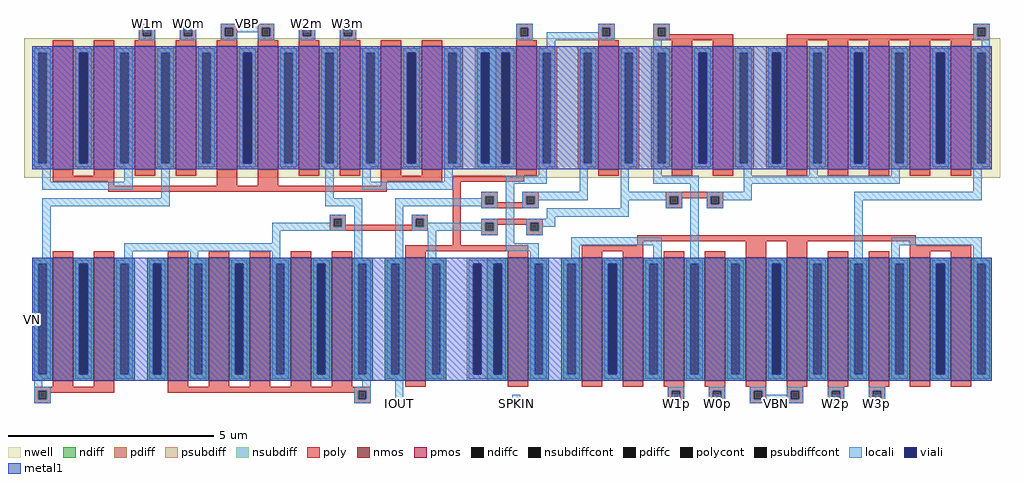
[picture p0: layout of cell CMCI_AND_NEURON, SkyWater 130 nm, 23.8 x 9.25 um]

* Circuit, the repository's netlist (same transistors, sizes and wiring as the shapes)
* NGSPICE file created from CMCI_AND_NEURON.ext - technology: sky130A

.subckt CMCI_synapse W1m W0m VBP W2m W3m VP IOUT SPKIN W1p W0p VBN W2p W3p VN
X0 a_450_n1180# W2m a_990_n90# VP sky130_fd_pr__pfet_01v8 ad=0.75 pd=3.5 as=0.75 ps=3.5 w=3 l=0.5
X1 a_190_n1120# SPKIN IOUT VN sky130_fd_pr__nfet_01v8 ad=1.5 pd=7 as=1.5 ps=7 w=3 l=0.5
X2 VN VBN a_3970_n1120# VN sky130_fd_pr__nfet_01v8 ad=0.75 pd=3.5 as=0.75 ps=3.5 w=3 l=0.5
X3 a_3170_n1120# W0p a_2810_n90# VN sky130_fd_pr__nfet_01v8 ad=0.75 pd=3.5 as=0.75 ps=3.5 w=3 l=0.5
X4 a_190_n1120# a_n210_n1120# VN VN sky130_fd_pr__nfet_01v8 ad=1.5 pd=7 as=0.75 ps=3.5 w=3 l=0.5
X5 VN a_n210_n1120# a_n210_n1120# VN sky130_fd_pr__nfet_01v8 ad=0.75 pd=3.5 as=1.5 ps=7 w=3 l=0.5
X6 VP VBP a_590_n90# VP sky130_fd_pr__pfet_01v8 ad=0.75 pd=3.5 as=0.75 ps=3.5 w=3 l=0.5
X7 VP a_2810_n90# a_2810_n90# VP sky130_fd_pr__pfet_01v8 ad=0.75 pd=3.5 as=1.5 ps=7 w=3 l=0.5
X8 VN a_450_n1180# a_190_n1120# VN sky130_fd_pr__nfet_01v8 ad=0.75 pd=3.5 as=0.75 ps=3.5 w=3 l=0.5
X9 a_3470_n120# a_3470_n120# VP VP sky130_fd_pr__pfet_01v8 ad=1.5 pd=7 as=0.75 ps=3.5 w=3 l=0.5
X10 a_1390_n90# VBP VP VP sky130_fd_pr__pfet_01v8 ad=1.5 pd=7 as=0.75 ps=3.5 w=3 l=0.5
X11 VP a_3470_n120# a_190_n1120# VP sky130_fd_pr__pfet_01v8 ad=0.75 pd=3.5 as=0.75 ps=3.5 w=3 l=0.5
X12 a_n210_n90# VBP VP VP sky130_fd_pr__pfet_01v8 ad=0.75 pd=3.5 as=0.75 ps=3.5 w=3 l=0.5
X13 a_190_n1120# a_2810_n90# VP VP sky130_fd_pr__pfet_01v8 ad=1.5 pd=7 as=0.75 ps=3.5 w=3 l=0.5
X14 a_190_n1120# a_450_n1180# VN VN sky130_fd_pr__nfet_01v8 ad=0.75 pd=3.5 as=1.5 ps=7 w=3 l=0.5
X15 a_n210_n1120# W1m a_n210_n90# VP sky130_fd_pr__pfet_01v8 ad=0.75 pd=3.5 as=0.75 ps=3.5 w=3 l=0.5
X16 a_190_n1120# a_2210_n1120# IOUT VP sky130_fd_pr__pfet_01v8 ad=1.5 pd=7 as=1.5 ps=7 w=3 l=0.5
X17 a_2810_n90# W1p a_2370_n1120# VN sky130_fd_pr__nfet_01v8 ad=0.75 pd=3.5 as=0.75 ps=3.5 w=3 l=0.5
X18 a_3970_n1120# W3p a_3470_n120# VN sky130_fd_pr__nfet_01v8 ad=0.75 pd=3.5 as=0.75 ps=3.5 w=3 l=0.5
X19 a_450_n1180# a_450_n1180# VN VN sky130_fd_pr__nfet_01v8 ad=1.5 pd=7 as=0.75 ps=3.5 w=3 l=0.5
X20 a_1390_n90# W3m a_450_n1180# VP sky130_fd_pr__pfet_01v8 ad=0.75 pd=3.5 as=0.75 ps=3.5 w=3 l=0.5
X21 a_2210_n1120# SPKIN VN VN sky130_fd_pr__nfet_01v8 ad=1.5 pd=7 as=1.5 ps=7 w=3 l=0.5
X22 a_3470_n120# W2p a_3570_n1120# VN sky130_fd_pr__nfet_01v8 ad=0.75 pd=3.5 as=0.75 ps=3.5 w=3 l=0.5
X23 a_2210_n1120# SPKIN VP VP sky130_fd_pr__pfet_01v8 ad=1.5 pd=7 as=1.5 ps=7 w=3 l=0.5
X24 a_2370_n1120# VBN VN VN sky130_fd_pr__nfet_01v8 ad=0.75 pd=3.5 as=0.75 ps=3.5 w=3 l=0.5
X25 a_990_n90# VBP VP VP sky130_fd_pr__pfet_01v8 ad=0.75 pd=3.5 as=0.75 ps=3.5 w=3 l=0.5
X26 VN a_450_n1180# a_190_n1120# VN sky130_fd_pr__nfet_01v8 ad=0.75 pd=3.5 as=0.75 ps=3.5 w=3 l=0.5
X27 VP VBP a_n210_n90# VP sky130_fd_pr__pfet_01v8 ad=0.75 pd=3.5 as=1.5 ps=7 w=3 l=0.5
X28 a_190_n1120# a_3470_n120# VP VP sky130_fd_pr__pfet_01v8 ad=0.75 pd=3.5 as=0.75 ps=3.5 w=3 l=0.5
X29 a_3570_n1120# VBN VN VN sky130_fd_pr__nfet_01v8 ad=0.75 pd=3.5 as=0.75 ps=3.5 w=3 l=0.5
X30 VN VBN a_2370_n1120# VN sky130_fd_pr__nfet_01v8 ad=0.75 pd=3.5 as=1.5 ps=7 w=3 l=0.5
X31 a_590_n90# W0m a_n210_n1120# VP sky130_fd_pr__pfet_01v8 ad=0.75 pd=3.5 as=0.75 ps=3.5 w=3 l=0.5
X32 VP a_3470_n120# a_190_n1120# VP sky130_fd_pr__pfet_01v8 ad=0.75 pd=3.5 as=0.75 ps=3.5 w=3 l=0.5
X33 VP VBP a_1390_n90# VP sky130_fd_pr__pfet_01v8 ad=0.75 pd=3.5 as=0.75 ps=3.5 w=3 l=0.5
X34 a_3970_n1120# VBN VN VN sky130_fd_pr__nfet_01v8 ad=1.5 pd=7 as=0.75 ps=3.5 w=3 l=0.5
X35 a_190_n1120# a_3470_n120# VP VP sky130_fd_pr__pfet_01v8 ad=0.75 pd=3.5 as=1.5 ps=7 w=3 l=0.5
X36 VN VBN a_3170_n1120# VN sky130_fd_pr__nfet_01v8 ad=0.75 pd=3.5 as=0.75 ps=3.5 w=3 l=0.5
X37 a_190_n1120# a_450_n1180# VN VN sky130_fd_pr__nfet_01v8 ad=0.75 pd=3.5 as=0.75 ps=3.5 w=3 l=0.5
.ends


* Top level circuit CMCI_AND_NEURON

XCMCI_synapse_0 W1m W0m VBP W2m W3m CMCI_synapse_0/VP IOUT SPKIN W1p W0p VBN W2p W3p
+ VN CMCI_synapse
.end

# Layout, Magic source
magic
tech sky130A
<< locali >>
rect 290 905 310 925
rect 390 905 410 925
rect 535 905 555 925
rect 680 905 700 925
rect 780 905 800 925
rect 905 0 925 20
rect 1190 0 1210 20
rect 1580 0 1600 20
rect 1680 0 1700 20
rect 1825 0 1845 20
rect 1970 0 1990 20
rect 2070 0 2090 20
<< metal1 >>
rect 20 710 40 730
rect 20 195 40 215
use CMCI_synapse  CMCI_synapse_0
transform 1 0 125 0 1 615
box -125 -615 2255 310
<< labels >>
rlabel locali 300 925 300 925 1 W1m
rlabel locali 400 925 400 925 1 W0m
rlabel locali 690 925 690 925 1 W2m
rlabel locali 790 925 790 925 1 W3m
rlabel metal1 20 205 20 205 7 VN
rlabel locali 915 0 915 0 5 IOUT
rlabel locali 1200 0 1200 0 5 SPKIN
rlabel locali 1590 0 1590 0 5 W1p
rlabel locali 1690 0 1690 0 5 W0p
rlabel locali 1835 0 1835 0 5 VBN
rlabel locali 1980 0 1980 0 5 W2p
rlabel locali 2080 0 2080 0 5 W3p
rlabel locali 545 925 545 925 1 VBP
<< end >>

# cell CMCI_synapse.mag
magic
tech sky130A
<< nwell >>
rect -125 -65 2255 275
<< nmos >>
rect -55 -560 -5 -260
rect 45 -560 95 -260
rect 225 -560 275 -260
rect 325 -560 375 -260
rect 425 -560 475 -260
rect 525 -560 575 -260
rect 625 -560 675 -260
rect 805 -560 855 -260
rect 1055 -560 1105 -260
rect 1235 -560 1285 -260
rect 1335 -560 1385 -260
rect 1435 -560 1485 -260
rect 1535 -560 1585 -260
rect 1635 -560 1685 -260
rect 1735 -560 1785 -260
rect 1835 -560 1885 -260
rect 1935 -560 1985 -260
rect 2035 -560 2085 -260
rect 2135 -560 2185 -260
<< pmos >>
rect -55 -45 -5 255
rect 45 -45 95 255
rect 145 -45 195 255
rect 245 -45 295 255
rect 345 -45 395 255
rect 445 -45 495 255
rect 545 -45 595 255
rect 645 -45 695 255
rect 745 -45 795 255
rect 845 -45 895 255
rect 1075 -45 1125 255
rect 1275 -45 1325 255
rect 1455 -45 1505 255
rect 1555 -45 1605 255
rect 1735 -45 1785 255
rect 1835 -45 1885 255
rect 1935 -45 1985 255
rect 2035 -45 2085 255
rect 2135 -45 2185 255
<< ndiff >>
rect -105 -275 -55 -260
rect -105 -545 -90 -275
rect -70 -545 -55 -275
rect -105 -560 -55 -545
rect -5 -275 45 -260
rect -5 -545 10 -275
rect 30 -545 45 -275
rect -5 -560 45 -545
rect 95 -275 145 -260
rect 95 -545 110 -275
rect 130 -545 145 -275
rect 95 -560 145 -545
rect 175 -275 225 -260
rect 175 -545 190 -275
rect 210 -545 225 -275
rect 175 -560 225 -545
rect 275 -275 325 -260
rect 275 -545 290 -275
rect 310 -545 325 -275
rect 275 -560 325 -545
rect 375 -275 425 -260
rect 375 -545 390 -275
rect 410 -545 425 -275
rect 375 -560 425 -545
rect 475 -275 525 -260
rect 475 -545 490 -275
rect 510 -545 525 -275
rect 475 -560 525 -545
rect 575 -275 625 -260
rect 575 -545 590 -275
rect 610 -545 625 -275
rect 575 -560 625 -545
rect 675 -275 725 -260
rect 675 -545 690 -275
rect 710 -545 725 -275
rect 675 -560 725 -545
rect 755 -275 805 -260
rect 755 -545 770 -275
rect 790 -545 805 -275
rect 755 -560 805 -545
rect 855 -275 905 -260
rect 855 -545 870 -275
rect 890 -545 905 -275
rect 855 -560 905 -545
rect 1005 -275 1055 -260
rect 1005 -545 1020 -275
rect 1040 -545 1055 -275
rect 1005 -560 1055 -545
rect 1105 -275 1155 -260
rect 1105 -545 1120 -275
rect 1140 -545 1155 -275
rect 1105 -560 1155 -545
rect 1185 -275 1235 -260
rect 1185 -545 1200 -275
rect 1220 -545 1235 -275
rect 1185 -560 1235 -545
rect 1285 -275 1335 -260
rect 1285 -545 1300 -275
rect 1320 -545 1335 -275
rect 1285 -560 1335 -545
rect 1385 -275 1435 -260
rect 1385 -545 1400 -275
rect 1420 -545 1435 -275
rect 1385 -560 1435 -545
rect 1485 -275 1535 -260
rect 1485 -545 1500 -275
rect 1520 -545 1535 -275
rect 1485 -560 1535 -545
rect 1585 -275 1635 -260
rect 1585 -545 1600 -275
rect 1620 -545 1635 -275
rect 1585 -560 1635 -545
rect 1685 -275 1735 -260
rect 1685 -545 1700 -275
rect 1720 -545 1735 -275
rect 1685 -560 1735 -545
rect 1785 -275 1835 -260
rect 1785 -545 1800 -275
rect 1820 -545 1835 -275
rect 1785 -560 1835 -545
rect 1885 -275 1935 -260
rect 1885 -545 1900 -275
rect 1920 -545 1935 -275
rect 1885 -560 1935 -545
rect 1985 -275 2035 -260
rect 1985 -545 2000 -275
rect 2020 -545 2035 -275
rect 1985 -560 2035 -545
rect 2085 -275 2135 -260
rect 2085 -545 2100 -275
rect 2120 -545 2135 -275
rect 2085 -560 2135 -545
rect 2185 -275 2235 -260
rect 2185 -545 2200 -275
rect 2220 -545 2235 -275
rect 2185 -560 2235 -545
<< pdiff >>
rect -105 240 -55 255
rect -105 -30 -90 240
rect -70 -30 -55 240
rect -105 -45 -55 -30
rect -5 240 45 255
rect -5 -30 10 240
rect 30 -30 45 240
rect -5 -45 45 -30
rect 95 240 145 255
rect 95 -30 110 240
rect 130 -30 145 240
rect 95 -45 145 -30
rect 195 240 245 255
rect 195 -30 210 240
rect 230 -30 245 240
rect 195 -45 245 -30
rect 295 240 345 255
rect 295 -30 310 240
rect 330 -30 345 240
rect 295 -45 345 -30
rect 395 240 445 255
rect 395 -30 410 240
rect 430 -30 445 240
rect 395 -45 445 -30
rect 495 240 545 255
rect 495 -30 510 240
rect 530 -30 545 240
rect 495 -45 545 -30
rect 595 240 645 255
rect 595 -30 610 240
rect 630 -30 645 240
rect 595 -45 645 -30
rect 695 240 745 255
rect 695 -30 710 240
rect 730 -30 745 240
rect 695 -45 745 -30
rect 795 240 845 255
rect 795 -30 810 240
rect 830 -30 845 240
rect 795 -45 845 -30
rect 895 240 945 255
rect 895 -30 910 240
rect 930 -30 945 240
rect 895 -45 945 -30
rect 1025 240 1075 255
rect 1025 -30 1040 240
rect 1060 -30 1075 240
rect 1025 -45 1075 -30
rect 1125 240 1175 255
rect 1125 -30 1140 240
rect 1160 -30 1175 240
rect 1125 -45 1175 -30
rect 1225 240 1275 255
rect 1225 -30 1240 240
rect 1260 -30 1275 240
rect 1225 -45 1275 -30
rect 1325 240 1375 255
rect 1325 -30 1340 240
rect 1360 -30 1375 240
rect 1325 -45 1375 -30
rect 1405 240 1455 255
rect 1405 -30 1420 240
rect 1440 -30 1455 240
rect 1405 -45 1455 -30
rect 1505 240 1555 255
rect 1505 -30 1520 240
rect 1540 -30 1555 240
rect 1505 -45 1555 -30
rect 1605 240 1655 255
rect 1605 -30 1620 240
rect 1640 -30 1655 240
rect 1605 -45 1655 -30
rect 1685 240 1735 255
rect 1685 -30 1700 240
rect 1720 -30 1735 240
rect 1685 -45 1735 -30
rect 1785 240 1835 255
rect 1785 -30 1800 240
rect 1820 -30 1835 240
rect 1785 -45 1835 -30
rect 1885 240 1935 255
rect 1885 -30 1900 240
rect 1920 -30 1935 240
rect 1885 -45 1935 -30
rect 1985 240 2035 255
rect 1985 -30 2000 240
rect 2020 -30 2035 240
rect 1985 -45 2035 -30
rect 2085 240 2135 255
rect 2085 -30 2100 240
rect 2120 -30 2135 240
rect 2085 -45 2135 -30
rect 2185 240 2235 255
rect 2185 -30 2200 240
rect 2220 -30 2235 240
rect 2185 -45 2235 -30
<< ndiffc >>
rect -90 -545 -70 -275
rect 10 -545 30 -275
rect 110 -545 130 -275
rect 190 -545 210 -275
rect 290 -545 310 -275
rect 390 -545 410 -275
rect 490 -545 510 -275
rect 590 -545 610 -275
rect 690 -545 710 -275
rect 770 -545 790 -275
rect 870 -545 890 -275
rect 1020 -545 1040 -275
rect 1120 -545 1140 -275
rect 1200 -545 1220 -275
rect 1300 -545 1320 -275
rect 1400 -545 1420 -275
rect 1500 -545 1520 -275
rect 1600 -545 1620 -275
rect 1700 -545 1720 -275
rect 1800 -545 1820 -275
rect 1900 -545 1920 -275
rect 2000 -545 2020 -275
rect 2100 -545 2120 -275
rect 2200 -545 2220 -275
<< pdiffc >>
rect -90 -30 -70 240
rect 10 -30 30 240
rect 110 -30 130 240
rect 210 -30 230 240
rect 310 -30 330 240
rect 410 -30 430 240
rect 510 -30 530 240
rect 610 -30 630 240
rect 710 -30 730 240
rect 810 -30 830 240
rect 910 -30 930 240
rect 1040 -30 1060 240
rect 1140 -30 1160 240
rect 1240 -30 1260 240
rect 1340 -30 1360 240
rect 1420 -30 1440 240
rect 1520 -30 1540 240
rect 1620 -30 1640 240
rect 1700 -30 1720 240
rect 1800 -30 1820 240
rect 1900 -30 1920 240
rect 2000 -30 2020 240
rect 2100 -30 2120 240
rect 2200 -30 2220 240
<< psubdiff >>
rect 955 -275 1005 -260
rect 955 -545 970 -275
rect 990 -545 1005 -275
rect 955 -560 1005 -545
<< nsubdiff >>
rect 975 240 1025 255
rect 975 -30 990 240
rect 1010 -30 1025 240
rect 975 -45 1025 -30
<< psubdiffcont >>
rect 970 -545 990 -275
<< nsubdiffcont >>
rect 990 -30 1010 240
<< poly >>
rect 155 300 195 310
rect 155 280 165 300
rect 185 280 195 300
rect 155 270 195 280
rect 255 300 295 310
rect 255 280 265 300
rect 285 280 295 300
rect 255 270 295 280
rect 355 300 395 310
rect 355 280 365 300
rect 385 280 395 300
rect 355 270 395 280
rect -55 255 -5 270
rect 45 255 95 270
rect 145 255 195 270
rect 245 255 295 270
rect 345 255 395 270
rect 445 300 485 310
rect 445 280 455 300
rect 475 280 485 300
rect 445 270 485 280
rect 545 300 585 310
rect 545 280 555 300
rect 575 280 585 300
rect 545 270 585 280
rect 645 300 685 310
rect 645 280 655 300
rect 675 280 685 300
rect 645 270 685 280
rect 1075 300 1115 310
rect 1075 280 1085 300
rect 1105 280 1115 300
rect 1075 270 1115 280
rect 1275 300 1315 310
rect 1275 280 1285 300
rect 1305 280 1315 300
rect 1275 270 1315 280
rect 1410 300 1450 310
rect 1410 280 1420 300
rect 1440 285 1450 300
rect 2190 300 2230 310
rect 2190 285 2200 300
rect 1440 280 1605 285
rect 1410 270 1605 280
rect 445 255 495 270
rect 545 255 595 270
rect 645 255 695 270
rect 745 255 795 270
rect 845 255 895 270
rect 1075 255 1125 270
rect 1275 255 1325 270
rect 1455 255 1505 270
rect 1555 255 1605 270
rect 1735 280 2200 285
rect 2220 280 2230 300
rect 1735 270 2230 280
rect 1735 255 1785 270
rect 1835 255 1885 270
rect 1935 255 1985 270
rect 2035 255 2085 270
rect 2135 255 2185 270
rect -55 -60 -5 -45
rect 45 -60 95 -45
rect 145 -60 195 -45
rect 245 -60 295 -45
rect -55 -75 95 -60
rect 80 -85 95 -75
rect 345 -85 395 -45
rect 445 -85 495 -45
rect 545 -60 595 -45
rect 645 -60 695 -45
rect 745 -60 795 -45
rect 845 -60 895 -45
rect 1075 -60 1125 -45
rect 1275 -60 1325 -45
rect 1455 -60 1505 -45
rect 1555 -60 1605 -45
rect 1735 -60 1785 -45
rect 1835 -60 1885 -45
rect 1935 -60 1985 -45
rect 2035 -60 2085 -45
rect 2135 -60 2185 -45
rect 745 -75 895 -60
rect 920 -75 1095 -60
rect 745 -85 760 -75
rect 80 -100 760 -85
rect 620 -165 660 -155
rect 620 -185 630 -165
rect 650 -180 660 -165
rect 820 -165 860 -155
rect 820 -180 830 -165
rect 650 -185 830 -180
rect 850 -185 860 -165
rect 620 -195 860 -185
rect 920 -230 940 -75
rect 990 -110 1030 -100
rect 990 -130 1000 -110
rect 1020 -125 1030 -110
rect 1090 -110 1130 -100
rect 1090 -125 1100 -110
rect 1020 -130 1100 -125
rect 1120 -130 1130 -110
rect 990 -140 1130 -130
rect 1440 -110 1580 -100
rect 1440 -130 1450 -110
rect 1470 -115 1550 -110
rect 1470 -130 1480 -115
rect 1440 -140 1480 -130
rect 1540 -130 1550 -115
rect 1570 -130 1580 -110
rect 1540 -140 1580 -130
rect 990 -175 1140 -165
rect 990 -195 1000 -175
rect 1020 -180 1110 -175
rect 1020 -195 1030 -180
rect 990 -205 1030 -195
rect 1100 -195 1110 -180
rect 1130 -195 1140 -175
rect 1100 -205 1140 -195
rect 1370 -220 2050 -205
rect 1370 -230 1385 -220
rect 805 -245 1105 -230
rect -55 -260 -5 -245
rect 45 -260 95 -245
rect 225 -260 275 -245
rect 325 -260 375 -245
rect 425 -260 475 -245
rect 525 -260 575 -245
rect 625 -260 675 -245
rect 805 -260 855 -245
rect 1055 -260 1105 -245
rect 1235 -245 1385 -230
rect 1235 -260 1285 -245
rect 1335 -260 1385 -245
rect 1435 -260 1485 -245
rect 1535 -260 1585 -245
rect 1635 -260 1685 -220
rect 1735 -260 1785 -220
rect 2035 -230 2050 -220
rect 2035 -245 2185 -230
rect 1835 -260 1885 -245
rect 1935 -260 1985 -245
rect 2035 -260 2085 -245
rect 2135 -260 2185 -245
rect -55 -575 -5 -560
rect 45 -575 95 -560
rect -100 -585 95 -575
rect -100 -605 -90 -585
rect -70 -590 95 -585
rect 225 -575 275 -560
rect 325 -575 375 -560
rect 425 -575 475 -560
rect 525 -575 575 -560
rect 625 -575 675 -560
rect 805 -575 855 -560
rect 1055 -575 1105 -560
rect 1235 -575 1285 -560
rect 1335 -575 1385 -560
rect 1435 -575 1485 -560
rect 1535 -575 1585 -560
rect 1635 -575 1685 -560
rect 225 -585 720 -575
rect 225 -590 690 -585
rect -70 -605 -60 -590
rect -100 -615 -60 -605
rect 680 -605 690 -590
rect 710 -605 720 -585
rect 680 -615 720 -605
rect 1445 -585 1485 -575
rect 1445 -605 1455 -585
rect 1475 -605 1485 -585
rect 1445 -615 1485 -605
rect 1545 -585 1585 -575
rect 1545 -605 1555 -585
rect 1575 -605 1585 -585
rect 1545 -615 1585 -605
rect 1645 -585 1685 -575
rect 1645 -605 1655 -585
rect 1675 -605 1685 -585
rect 1645 -615 1685 -605
rect 1735 -575 1785 -560
rect 1835 -575 1885 -560
rect 1935 -575 1985 -560
rect 2035 -575 2085 -560
rect 2135 -575 2185 -560
rect 1735 -585 1775 -575
rect 1735 -605 1745 -585
rect 1765 -605 1775 -585
rect 1735 -615 1775 -605
rect 1835 -585 1875 -575
rect 1835 -605 1845 -585
rect 1865 -605 1875 -585
rect 1835 -615 1875 -605
rect 1935 -585 1975 -575
rect 1935 -605 1945 -585
rect 1965 -605 1975 -585
rect 1935 -615 1975 -605
<< polycont >>
rect 165 280 185 300
rect 265 280 285 300
rect 365 280 385 300
rect 455 280 475 300
rect 555 280 575 300
rect 655 280 675 300
rect 1085 280 1105 300
rect 1285 280 1305 300
rect 1420 280 1440 300
rect 2200 280 2220 300
rect 630 -185 650 -165
rect 830 -185 850 -165
rect 1000 -130 1020 -110
rect 1100 -130 1120 -110
rect 1450 -130 1470 -110
rect 1550 -130 1570 -110
rect 1000 -195 1020 -175
rect 1110 -195 1130 -175
rect -90 -605 -70 -585
rect 690 -605 710 -585
rect 1455 -605 1475 -585
rect 1555 -605 1575 -585
rect 1655 -605 1675 -585
rect 1745 -605 1765 -585
rect 1845 -605 1865 -585
rect 1945 -605 1965 -585
<< locali >>
rect 155 300 195 310
rect 155 280 165 300
rect 185 280 195 300
rect 155 270 195 280
rect 255 300 295 310
rect 255 280 265 300
rect 285 280 295 300
rect 255 270 295 280
rect 355 300 485 310
rect 355 280 365 300
rect 385 290 455 300
rect 385 280 395 290
rect 355 270 395 280
rect 445 280 455 290
rect 475 280 485 300
rect 445 270 485 280
rect 545 300 585 310
rect 545 280 555 300
rect 575 280 585 300
rect 545 270 585 280
rect 645 300 685 310
rect 645 280 655 300
rect 675 280 685 300
rect 645 270 685 280
rect 1075 300 1115 310
rect 1075 280 1085 300
rect 1105 280 1115 300
rect 1275 300 1315 310
rect 1275 290 1285 300
rect 1075 270 1115 280
rect 1150 280 1285 290
rect 1305 280 1315 300
rect 1150 270 1315 280
rect 1410 300 1450 310
rect 1410 280 1420 300
rect 1440 280 1450 300
rect 1410 270 1450 280
rect 2190 300 2230 310
rect 2190 280 2200 300
rect 2220 280 2230 300
rect 2190 270 2230 280
rect 1150 250 1170 270
rect 1410 250 1430 270
rect 2210 250 2230 270
rect -100 240 -60 250
rect -100 -30 -90 240
rect -70 -30 -60 240
rect -100 -40 -60 -30
rect 0 240 40 250
rect 0 -30 10 240
rect 30 -30 40 240
rect 0 -40 40 -30
rect 100 240 140 250
rect 100 -30 110 240
rect 130 -30 140 240
rect 100 -40 140 -30
rect 200 240 240 250
rect 200 -30 210 240
rect 230 -30 240 240
rect 200 -40 240 -30
rect 300 240 340 250
rect 300 -30 310 240
rect 330 -30 340 240
rect 300 -40 340 -30
rect 400 240 440 250
rect 400 -30 410 240
rect 430 -30 440 240
rect 400 -40 440 -30
rect 500 240 540 250
rect 500 -30 510 240
rect 530 -30 540 240
rect 500 -40 540 -30
rect 600 240 640 250
rect 600 -30 610 240
rect 630 -30 640 240
rect 600 -40 640 -30
rect 700 240 740 250
rect 700 -30 710 240
rect 730 -30 740 240
rect 700 -40 740 -30
rect 800 240 840 250
rect 800 -30 810 240
rect 830 -30 840 240
rect 800 -40 840 -30
rect 900 240 940 250
rect 900 -30 910 240
rect 930 -30 940 240
rect 900 -40 940 -30
rect 980 240 1070 250
rect 980 -30 990 240
rect 1010 -30 1040 240
rect 1060 -30 1070 240
rect 980 -40 1070 -30
rect 1130 240 1170 250
rect 1130 -30 1140 240
rect 1160 -30 1170 240
rect 1130 -40 1170 -30
rect 1230 240 1270 250
rect 1230 -30 1240 240
rect 1260 -30 1270 240
rect 1230 -40 1270 -30
rect 1330 240 1370 250
rect 1330 -30 1340 240
rect 1360 -30 1370 240
rect 1330 -40 1370 -30
rect 1410 240 1450 250
rect 1410 -30 1420 240
rect 1440 -30 1450 240
rect 1410 -40 1450 -30
rect 1510 240 1550 250
rect 1510 -30 1520 240
rect 1540 -30 1550 240
rect 1510 -40 1550 -30
rect 1610 240 1650 250
rect 1610 -30 1620 240
rect 1640 -30 1650 240
rect 1610 -40 1650 -30
rect 1690 240 1730 250
rect 1690 -30 1700 240
rect 1720 -30 1730 240
rect 1690 -40 1730 -30
rect 1790 240 1830 250
rect 1790 -30 1800 240
rect 1820 -30 1830 240
rect 1790 -40 1830 -30
rect 1890 240 1930 250
rect 1890 -30 1900 240
rect 1920 -30 1930 240
rect 1890 -40 1930 -30
rect 1990 240 2030 250
rect 1990 -30 2000 240
rect 2020 -30 2030 240
rect 1990 -40 2030 -30
rect 2090 240 2130 250
rect 2090 -30 2100 240
rect 2120 -30 2130 240
rect 2090 -40 2130 -30
rect 2190 240 2230 250
rect 2190 -30 2200 240
rect 2220 -30 2230 240
rect 2190 -40 2230 -30
rect -80 -75 -60 -40
rect 120 -75 140 -40
rect -80 -95 140 -75
rect 210 -115 230 -40
rect -80 -135 230 -115
rect 610 -115 630 -40
rect 700 -75 720 -40
rect 900 -75 920 -40
rect 1130 -60 1150 -40
rect 700 -95 920 -75
rect 1050 -80 1150 -60
rect 990 -110 1030 -100
rect 990 -115 1000 -110
rect 610 -135 700 -115
rect -80 -265 -60 -135
rect 620 -165 660 -155
rect 620 -175 630 -165
rect 480 -185 630 -175
rect 650 -185 660 -165
rect 480 -195 660 -185
rect 480 -225 500 -195
rect 120 -245 500 -225
rect 120 -265 140 -245
rect 280 -265 300 -245
rect 480 -265 500 -245
rect 680 -265 700 -135
rect 780 -130 1000 -115
rect 1020 -130 1030 -110
rect 780 -135 1030 -130
rect 780 -265 800 -135
rect 990 -140 1030 -135
rect 820 -165 860 -155
rect 820 -185 830 -165
rect 850 -175 860 -165
rect 990 -175 1030 -165
rect 850 -185 1000 -175
rect 820 -195 1000 -185
rect 1020 -195 1030 -175
rect -100 -275 -60 -265
rect -100 -545 -90 -275
rect -70 -545 -60 -275
rect -100 -555 -60 -545
rect 0 -275 40 -265
rect 0 -545 10 -275
rect 30 -545 40 -275
rect 0 -555 40 -545
rect 100 -275 140 -265
rect 100 -545 110 -275
rect 130 -545 140 -275
rect 100 -555 140 -545
rect 180 -275 220 -265
rect 180 -545 190 -275
rect 210 -545 220 -275
rect 180 -555 220 -545
rect 280 -275 320 -265
rect 280 -545 290 -275
rect 310 -545 320 -275
rect 280 -555 320 -545
rect 380 -275 420 -265
rect 380 -545 390 -275
rect 410 -545 420 -275
rect 380 -555 420 -545
rect 480 -275 520 -265
rect 480 -545 490 -275
rect 510 -545 520 -275
rect 480 -555 520 -545
rect 580 -275 620 -265
rect 580 -545 590 -275
rect 610 -545 620 -275
rect 580 -555 620 -545
rect 680 -275 720 -265
rect 680 -545 690 -275
rect 710 -545 720 -275
rect 680 -555 720 -545
rect 760 -275 800 -265
rect 760 -545 770 -275
rect 790 -545 800 -275
rect 760 -555 800 -545
rect 860 -265 880 -195
rect 990 -205 1030 -195
rect 1050 -225 1070 -80
rect 1230 -100 1250 -40
rect 1090 -110 1250 -100
rect 1090 -130 1100 -110
rect 1120 -120 1250 -110
rect 1330 -100 1350 -40
rect 1410 -60 1430 -40
rect 1630 -60 1650 -40
rect 1790 -60 1810 -40
rect 1990 -60 2010 -40
rect 1410 -80 1520 -60
rect 1330 -110 1480 -100
rect 1330 -120 1450 -110
rect 1120 -130 1130 -120
rect 1090 -140 1130 -130
rect 1330 -140 1350 -120
rect 1440 -130 1450 -120
rect 1470 -130 1480 -110
rect 1440 -140 1480 -130
rect 1150 -160 1350 -140
rect 1150 -165 1170 -160
rect 1100 -175 1170 -165
rect 1100 -195 1110 -175
rect 1130 -185 1170 -175
rect 1130 -195 1140 -185
rect 1100 -205 1140 -195
rect 1050 -245 1130 -225
rect 1110 -265 1130 -245
rect 1210 -230 1430 -210
rect 1210 -265 1230 -230
rect 1410 -265 1430 -230
rect 1500 -265 1520 -80
rect 1630 -80 2010 -60
rect 1630 -100 1650 -80
rect 2190 -100 2210 -40
rect 1540 -110 1650 -100
rect 1540 -130 1550 -110
rect 1570 -120 1650 -110
rect 1900 -120 2210 -100
rect 1570 -130 1580 -120
rect 1540 -140 1580 -130
rect 1900 -265 1920 -120
rect 1990 -230 2210 -210
rect 1990 -265 2010 -230
rect 2190 -265 2210 -230
rect 860 -275 900 -265
rect 860 -545 870 -275
rect 890 -545 900 -275
rect 860 -555 900 -545
rect 960 -275 1050 -265
rect 960 -545 970 -275
rect 990 -545 1020 -275
rect 1040 -545 1050 -275
rect 960 -555 1050 -545
rect 1110 -275 1150 -265
rect 1110 -545 1120 -275
rect 1140 -545 1150 -275
rect 1110 -555 1150 -545
rect 1190 -275 1230 -265
rect 1190 -545 1200 -275
rect 1220 -545 1230 -275
rect 1190 -555 1230 -545
rect 1290 -275 1330 -265
rect 1290 -545 1300 -275
rect 1320 -545 1330 -275
rect 1290 -555 1330 -545
rect 1390 -275 1430 -265
rect 1390 -545 1400 -275
rect 1420 -545 1430 -275
rect 1390 -555 1430 -545
rect 1490 -275 1530 -265
rect 1490 -545 1500 -275
rect 1520 -545 1530 -275
rect 1490 -555 1530 -545
rect 1590 -275 1630 -265
rect 1590 -545 1600 -275
rect 1620 -545 1630 -275
rect 1590 -555 1630 -545
rect 1690 -275 1730 -265
rect 1690 -545 1700 -275
rect 1720 -545 1730 -275
rect 1690 -555 1730 -545
rect 1790 -275 1830 -265
rect 1790 -545 1800 -275
rect 1820 -545 1830 -275
rect 1790 -555 1830 -545
rect 1890 -275 1930 -265
rect 1890 -545 1900 -275
rect 1920 -545 1930 -275
rect 1890 -555 1930 -545
rect 1990 -275 2030 -265
rect 1990 -545 2000 -275
rect 2020 -545 2030 -275
rect 1990 -555 2030 -545
rect 2090 -275 2130 -265
rect 2090 -545 2100 -275
rect 2120 -545 2130 -275
rect 2090 -555 2130 -545
rect 2190 -275 2230 -265
rect 2190 -545 2200 -275
rect 2220 -545 2230 -275
rect 2190 -555 2230 -545
rect -100 -575 -80 -555
rect 700 -575 720 -555
rect -100 -585 -60 -575
rect -100 -605 -90 -585
rect -70 -605 -60 -585
rect -100 -615 -60 -605
rect 680 -585 720 -575
rect 680 -605 690 -585
rect 710 -605 720 -585
rect 680 -615 720 -605
rect 780 -615 800 -555
rect 1445 -585 1485 -575
rect 1445 -605 1455 -585
rect 1475 -605 1485 -585
rect 1445 -615 1485 -605
rect 1545 -585 1585 -575
rect 1545 -605 1555 -585
rect 1575 -605 1585 -585
rect 1545 -615 1585 -605
rect 1645 -585 1685 -575
rect 1645 -605 1655 -585
rect 1675 -595 1685 -585
rect 1735 -585 1775 -575
rect 1735 -595 1745 -585
rect 1675 -605 1745 -595
rect 1765 -605 1775 -585
rect 1645 -615 1775 -605
rect 1835 -585 1875 -575
rect 1835 -605 1845 -585
rect 1865 -605 1875 -585
rect 1835 -615 1875 -605
rect 1935 -585 1975 -575
rect 1935 -605 1945 -585
rect 1965 -605 1975 -585
rect 1935 -615 1975 -605
<< viali >>
rect 10 -30 30 240
rect 410 -30 430 240
rect 810 -30 830 240
rect 990 -30 1010 240
rect 1040 -30 1060 240
rect 1520 -30 1540 240
rect 1700 -30 1720 240
rect 1900 -30 1920 240
rect 2100 -30 2120 240
rect 10 -545 30 -275
rect 190 -545 210 -275
rect 390 -545 410 -275
rect 590 -545 610 -275
rect 970 -545 990 -275
rect 1020 -545 1040 -275
rect 1300 -545 1320 -275
rect 1700 -545 1720 -275
rect 2100 -545 2120 -275
<< metal1 >>
rect -105 240 2235 255
rect -105 -30 10 240
rect 30 -30 410 240
rect 430 -30 810 240
rect 830 -30 990 240
rect 1010 -30 1040 240
rect 1060 -30 1520 240
rect 1540 -30 1700 240
rect 1720 -30 1900 240
rect 1920 -30 2100 240
rect 2120 -30 2235 240
rect -105 -45 2235 -30
rect -105 -275 2235 -260
rect -105 -545 10 -275
rect 30 -545 190 -275
rect 210 -545 390 -275
rect 410 -545 590 -275
rect 610 -545 970 -275
rect 990 -545 1020 -275
rect 1040 -545 1300 -275
rect 1320 -545 1700 -275
rect 1720 -545 2100 -275
rect 2120 -545 2235 -275
rect -105 -560 2235 -545
<< labels >>
rlabel locali 175 310 175 310 1 W1m
port 1 n
rlabel locali 275 310 275 310 1 W0m
port 2 n
rlabel locali 565 310 565 310 1 W2m
port 4 n
rlabel locali 665 310 665 310 1 W3m
port 5 n
rlabel locali 1465 -615 1465 -615 5 W1p
port 10 s
rlabel locali 1565 -615 1565 -615 5 W0p
port 11 s
rlabel locali 1855 -615 1855 -615 5 W2p
port 13 s
rlabel locali 1955 -615 1955 -615 5 W3p
port 14 s
rlabel metal1 -105 105 -105 105 7 VP
port 6 w
rlabel locali 420 310 420 310 1 VBP
port 3 n
rlabel locali 1710 -615 1710 -615 5 VBN
port 12 s
rlabel locali 790 -615 790 -615 5 IOUT
port 8 s
rlabel metal1 -105 -410 -105 -410 7 VN
port 15 w
rlabel locali 1095 310 1095 310 1 SPKIN
port 9 s
<< end >>
